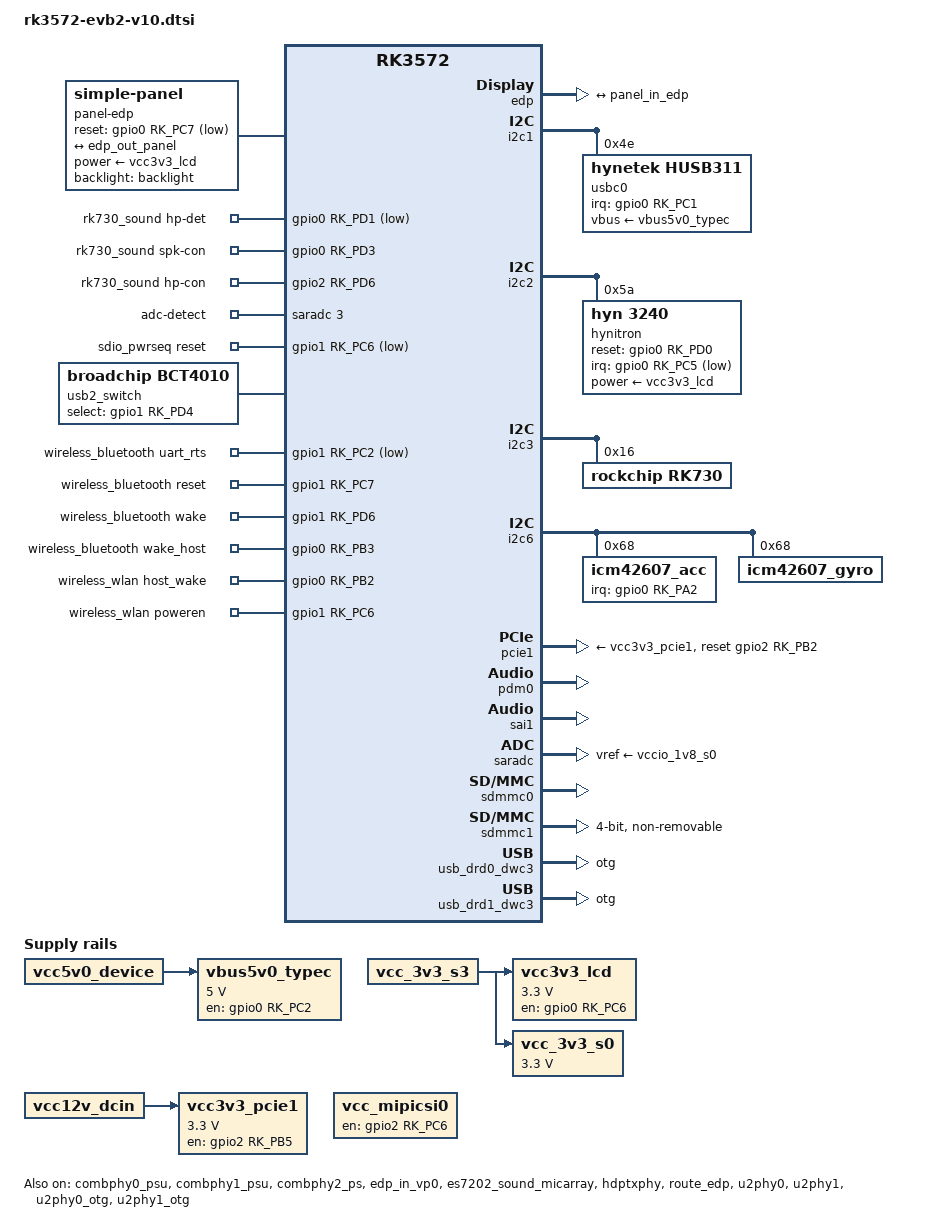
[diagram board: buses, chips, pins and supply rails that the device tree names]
// SPDX-License-Identifier: (GPL-2.0+ OR MIT)
/*
 * Copyright (c) 2025 Rockchip Electronics Co., Ltd.
 */

#include <dt-bindings/usb/pd.h>
#include "rk3572.dtsi"
#include "rk3572-evb.dtsi"
#include "rk3572-rk806.dtsi"
#include "rk3572-evb2-cam-csi0.dtsi"

/ {
	extcon_usb: extcon-usb {
		compatible = "rockchip,extcon-usb";
		orientation-switch;
		usb-role-switch;

		extcon_usb_port0: extcon-usb-port0 {
			rockchip,usbc-orientation = <1>;
			extcon = <&u2phy0>;
		};

		extcon_usb_port1: extcon-usb-port1 {
			rockchip,usbc-orientation = <2>;
			extcon = <&u2phy1>;
		};
	};

	fan {
		compatible = "pwm-fan";
		pwms = <&pwm2_8ch_2 0 40000 0>;
		cooling-levels = <0 80 170 255>;
		status = "disabled";
	};

	panel-edp {
		compatible = "simple-panel";
		backlight = <&backlight>;
		power-supply = <&vcc3v3_lcd>;
		pinctrl-name = "default";
		pinctrl-0 = <&edp_panel_reset>;
		reset-gpios = <&gpio0 RK_PC7 GPIO_ACTIVE_LOW>;
		prepare-delay-ms = <120>;
		enable-delay-ms = <120>;
		unprepare-delay-ms = <120>;
		disable-delay-ms = <120>;
		width-mm = <120>;
		height-mm = <160>;
		status = "okay";

		panel-timing {
			clock-frequency = <200000000>;
			hactive = <1536>;
			vactive = <2048>;
			hfront-porch = <12>;
			hsync-len = <16>;
			hback-porch = <48>;
			vfront-porch = <8>;
			vsync-len = <4>;
			vback-porch = <8>;
			hsync-active = <0>;
			vsync-active = <0>;
			de-active = <0>;
			pixelclk-active = <0>;
		};

		port {
			panel_in_edp: endpoint {
				remote-endpoint = <&edp_out_panel>;
			};
		};
	};

	rk730_sound: rk730-sound {
		status = "okay";
		compatible = "rockchip,multicodecs-card";
		rockchip,card-name = "rockchip-rk730";
		hp-det-gpio = <&gpio0 RK_PD1 GPIO_ACTIVE_LOW>;
		io-channels = <&saradc 3>;
		io-channel-names = "adc-detect";
		keyup-threshold-microvolt = <1800000>;
		poll-interval = <100>;
		spk-con-gpio = <&gpio0 RK_PD3 GPIO_ACTIVE_HIGH>;
		hp-con-gpio = <&gpio2 RK_PD6 GPIO_ACTIVE_HIGH>;
		rockchip,pre-power-on-delay-ms = <30>;
		rockchip,post-power-down-delay-ms = <40>;
		rockchip,format = "i2s";
		rockchip,mclk-fs = <256>;
		rockchip,cpu = <&sai1>;
		rockchip,codec = <&rk730>;
		rockchip,audio-routing =
			"Headphone", "LOUT1",
			"Headphone", "ROUT1",
			"Speaker", "LOUT2",
			"Speaker", "ROUT2",
			"Headphone", "Headphone Power",
			"Headphone", "Headphone Power",
			"Speaker", "Speaker Power",
			"Speaker", "Speaker Power",
			"MIC2", "Main Mic",
			"MIC1", "Headset Mic";
		pinctrl-names = "default";
		pinctrl-0 = <&hp_det>;
		play-pause-key {
			label = "playpause";
			linux,code = <KEY_PLAYPAUSE>;
			press-threshold-microvolt = <2000>;
		};
	};

	sdio_pwrseq: sdio-pwrseq {
		compatible = "mmc-pwrseq-simple";
		pinctrl-names = "default";
		pinctrl-0 = <&wifi_poweren_gpio>;

		/*
		 * On the module itself this is one of these (depending
		 * on the actual card populated):
		 * - SDIO_RESET_L_WL_REG_ON
		 * - PDN (power down when low)
		 */
		post-power-on-delay-ms = <200>;
		reset-gpios = <&gpio1 RK_PC6 GPIO_ACTIVE_LOW>;
	};

	usb2_switch: usb2-switch {
		compatible = "broadchip,bct4010", "gpio-sbu-mux";
		select-gpios = <&gpio1 RK_PD4 GPIO_ACTIVE_HIGH>;
		pinctrl-names = "default";
		pinctrl-0 = <&usb2_switch_default>;
		orientation-switch;
	};

	vbus5v0_typec: vbus5v0-typec {
		compatible = "regulator-fixed";
		regulator-name = "vbus5v0_typec";
		regulator-min-microvolt = <5000000>;
		regulator-max-microvolt = <5000000>;
		enable-active-high;
		gpio = <&gpio0 RK_PC2 GPIO_ACTIVE_HIGH>;
		vin-supply = <&vcc5v0_device>;
		pinctrl-names = "default";
		pinctrl-0 = <&usb_drd_pwren>;
	};

	vcc3v3_lcd: vcc3v3-lcd {
		compatible = "regulator-fixed";
		regulator-name = "vcc3v3_lcd";
		regulator-boot-on;
		enable-active-high;
		regulator-min-microvolt = <3300000>;
		regulator-max-microvolt = <3300000>;
		gpio = <&gpio0 RK_PC6 GPIO_ACTIVE_HIGH>;
		vin-supply = <&vcc_3v3_s3>;
	};

	vcc3v3_pcie1: vcc3v3-pcie1 {
		compatible = "regulator-fixed";
		regulator-name = "vcc3v3_pcie1";
		enable-active-high;
		regulator-min-microvolt = <3300000>;
		regulator-max-microvolt = <3300000>;
		gpio = <&gpio2 RK_PB5 GPIO_ACTIVE_HIGH>;
		vin-supply = <&vcc12v_dcin>;
	};

	vcc_3v3_s0: vcc-3v3-s0 {
		compatible = "regulator-fixed";
		regulator-name = "vcc_3v3_s0";
		regulator-boot-on;
		regulator-always-on;
		regulator-min-microvolt = <3300000>;
		regulator-max-microvolt = <3300000>;
		vin-supply = <&vcc_3v3_s3>;
	};

	vcc_mipicsi0: vcc-mipicsi0-regulator {
		compatible = "regulator-fixed";
		gpio = <&gpio2 RK_PC6 GPIO_ACTIVE_HIGH>;
		pinctrl-names = "default";
		pinctrl-0 = <&mipicsi0_pwr>;
		regulator-name = "vcc_mipicsi0";
		enable-active-high;
	};

	wireless_bluetooth: wireless-bluetooth {
		compatible = "bluetooth-platdata";
		bt_port = "/dev/ttyS4";
		uart_rts-gpios = <&gpio1 RK_PC2 GPIO_ACTIVE_LOW>;
		pinctrl-names = "default", "rts_gpio";
		pinctrl-0 = <&uart4m1_rtsn_pins>;
		pinctrl-1 = <&uart4_gpios>;
		BT,reset-gpios    = <&gpio1 RK_PC7 GPIO_ACTIVE_HIGH>;
		BT,wake-gpios     = <&gpio1 RK_PD6 GPIO_ACTIVE_HIGH>;
		BT,wake_host-gpios = <&gpio0 RK_PB3 GPIO_ACTIVE_HIGH>;
		status = "okay";
	};

	wireless_wlan: wireless-wlan {
		compatible = "wlan-platdata";
		wifi_chip_type = "ap6275p";
		pinctrl-names = "default";
		pinctrl-0 = <&wifi_host_wake_irq>;
		WIFI,host_wake-gpios = <&gpio0 RK_PB2 GPIO_ACTIVE_HIGH>;
		WIFI,poweren-gpios = <&gpio1 RK_PC6 GPIO_ACTIVE_HIGH>;
		status = "okay";
	};
};

&combphy0_psu {
	status = "okay";
};

&combphy1_psu {
	status = "okay";
};

&combphy2_ps {
	status = "okay";
};

&dsi_panel {
	power-supply = <&vcc3v3_lcd>;
};

&edp {
	force-hpd;
	status = "okay";

	ports {
		port@1 {
			reg = <1>;

			edp_out_panel: endpoint {
				remote-endpoint = <&panel_in_edp>;
			};
		};
	};
};

&edp_in_vp0 {
	status = "okay";
};

&es7202_sound_micarray {
	status = "okay";
};

&hdptxphy {
	status = "okay";
};

&i2c1 {
	status = "okay";

	usbc0: husb311@4e {
		compatible = "hynetek,husb311";
		reg = <0x4e>;
		interrupt-parent = <&gpio0>;
		interrupts = <RK_PC1 IRQ_TYPE_LEVEL_LOW>;
		pinctrl-names = "default";
		pinctrl-0 = <&usbc0_int>;
		vbus-supply = <&vbus5v0_typec>;
		status = "okay";

		usb_con0: connector {
			compatible = "usb-c-connector";
			label = "USB-C";
			data-role = "dual";
			power-role = "dual";
			try-power-role = "sink";
			op-sink-microwatt = <1000000>;
			orientation-switch = <&extcon_usb &usb2_switch &u2phy0>;
			usb-role-switch = <&extcon_usb>;

			sink-pdos = <PDO_FIXED(5000, 1000, PDO_FIXED_DATA_SWAP | PDO_FIXED_USB_COMM | PDO_FIXED_EXTPOWER | PDO_FIXED_DUAL_ROLE)>;
			source-pdos = <PDO_FIXED(5000, 3000, PDO_FIXED_DATA_SWAP | PDO_FIXED_USB_COMM | PDO_FIXED_EXTPOWER | PDO_FIXED_DUAL_ROLE)>;
		};
	};
};

&i2c2 {
	status = "okay";

	hynitron: hynitron@5a {
		status = "okay";
		compatible = "hyn,3240";
		reg = <0x5a>;

		pinctrl-names = "ts_active","ts_suspend";
		pinctrl-0 = <&ts_int_active &ts_reset_active>;
		pinctrl-1 = <&ts_int_suspend &ts_reset_suspend>;

		reset-gpios = <&gpio0 RK_PD0 GPIO_ACTIVE_HIGH>;
		irq-gpios = <&gpio0 RK_PC5 GPIO_ACTIVE_LOW>;

		power-supply = <&vcc3v3_lcd>;
		max-touch-number = <5>;
		display-coords = <0 0 1080 1920>;
		pos-swap = <0>;
		posx-reverse = <0>;
		posy-reverse = <0>;
	};
};

&i2c3 {
	status = "okay";

	rk730: rk730@16 {
		status = "okay";
		#sound-dai-cells = <0>;
		compatible = "rockchip,rk730";
		reg = <0x16>;
		clocks = <&mclkout_sai1>;
		clock-names = "mclk";
		assigned-clocks = <&mclkout_sai1>;
		assigned-clock-rates = <12288000>;
		pinctrl-names = "default";
		pinctrl-0 = <&sai1m0_mclk_pins>;
	};
};

&i2c6 {
	status = "okay";
	pinctrl-names = "default";
	pinctrl-0 = <&i2c6m2_xfer_pins>;

	icm42607_acc: icm_acc@68 {
		status = "okay";
		compatible = "icm42607_acc";
		reg = <0x68>;
		irq-gpio = <&gpio0 RK_PA2 IRQ_TYPE_EDGE_RISING>;
		irq_enable = <0>;
		poll_delay_ms = <30>;
		type = <SENSOR_TYPE_ACCEL>;
		layout = <2>;
	};

	icm42607_gyro: icm_gyro@68 {
		status = "okay";
		compatible = "icm42607_gyro";
		reg = <0x68>;
		poll_delay_ms = <30>;
		type = <SENSOR_TYPE_GYROSCOPE>;
		layout = <2>;
	};
};

&pcie1 {
	reset-gpios = <&gpio2 RK_PB2 GPIO_ACTIVE_HIGH>;
	vpcie3v3-supply = <&vcc3v3_pcie1>;

	/*
	 * Solder R1851 and R1860 registers to make this slot
	 * work according to the schematic of page 17.
	 */
	status = "okay";
};

&pdm0 {
	pinctrl-0 = <&pdmm1_sdi2_pins>;
	pinctrl-1 = <&pdmm1_clk1_idle>;
	pinctrl-2 = <&pdmm1_clk1_pins>;
	rockchip,path-map = <2 0 1 3>;
	status = "okay";
};

&pinctrl {
	cam {
		mipicsi0_pwr: mipicsi0-pwr {
			rockchip,pins =
				/* camera power en */
				<2 RK_PC6 RK_FUNC_GPIO &pcfg_pull_none>;
		};
	};

	display {
		edp_panel_reset: edp-panel-reset {
			rockchip,pins = <0 RK_PC7 RK_FUNC_GPIO &pcfg_pull_up>;
		};
	};

	headphone {
		hp_det: hp-det {
			rockchip,pins = <0 RK_PD1 RK_FUNC_GPIO &pcfg_pull_up>;
		};
	};

	touch {
		ts_int_active: ts_int_active {
			rockchip,pins = <0 RK_PC5 RK_FUNC_GPIO &pcfg_pull_up>;
		};

		ts_reset_active: ts_reset_active {
			rockchip,pins = <0 RK_PD0 RK_FUNC_GPIO &pcfg_pull_up>;
		};

		ts_int_suspend: ts_int_suspend {
			rockchip,pins = <0 RK_PC5 RK_FUNC_GPIO &pcfg_pull_down>;
		};

		ts_reset_suspend: ts_reset_suspend {
			rockchip,pins = <0 RK_PD0 RK_FUNC_GPIO &pcfg_pull_down>;
		};
	};

	usb {
		usb2_switch_default: usb2-switch-default {
			rockchip,pins = <1 RK_PD4 RK_FUNC_GPIO &pcfg_pull_none>;
		};

		usb_drd_pwren: usb-drd-pwren {
			rockchip,pins = <0 RK_PC2 RK_FUNC_GPIO &pcfg_pull_none>;
		};

		usbc0_int: usbc0-int {
			rockchip,pins = <0 RK_PC1 RK_FUNC_GPIO &pcfg_pull_up>;
		};
	};

	wireless-bluetooth {
		uart4_gpios: uart4-gpios {
			rockchip,pins = <1 RK_PC2 RK_FUNC_GPIO &pcfg_pull_none>;
		};
	};

	wireless-wlan {
		wifi_host_wake_irq: wifi-host-wake-irq {
			rockchip,pins = <0 RK_PB2 RK_FUNC_GPIO &pcfg_pull_down>;
		};

		wifi_poweren_gpio: wifi-poweren-gpio {
			rockchip,pins = <1 RK_PC6 RK_FUNC_GPIO &pcfg_pull_up>;
		};
	};
};

&pwm2_8ch_2 {
	pinctrl-0 = <&pwm2m3_ch2_pins>;
	status = "disabled";
};

&route_edp {
	status = "okay";
	connect = <&vp0_out_edp>;
};

&sai1 {
	status = "okay";
	pinctrl-0 = <&sai1m0_lrck_pins
		     &sai1m0_sclk_pins
		     &sai1m0_sdi0_pins
		     &sai1m0_sdo0_pins>;
};

&saradc {
	status = "okay";
	vref-supply = <&vccio_1v8_s0>;
};

&sdmmc0 {
	status = "okay";
};

&sdmmc1 {
	max-frequency = <200000000>;
	no-sd;
	no-mmc;
	bus-width = <4>;
	cap-sd-highspeed;
	cap-sdio-irq;
	keep-power-in-suspend;
	mmc-pwrseq = <&sdio_pwrseq>;
	non-removable;
	pinctrl-names = "default";
	pinctrl-0 = <&sdmmc1_bus4_pins &sdmmc1_clk_pins &sdmmc1_cmd_pins>;
	sd-uhs-sdr104;
	status = "okay";
};

&u2phy0 {
	orientation-switch;
	status = "okay";
};

&u2phy1 {
	orientation-switch;
	status = "okay";
};

&u2phy0_otg {
	rockchip,typec-vbus-det;
	status = "okay";
};

&u2phy1_otg {
	rockchip,typec-vbus-det;
	status = "okay";
};

&usb_drd0_dwc3 {
	dr_mode = "otg";
	extcon = <&extcon_usb_port0>;
	status = "okay";
};

&usb_drd1_dwc3 {
	dr_mode = "otg";
	extcon = <&extcon_usb_port1>;
	status = "okay";
};
